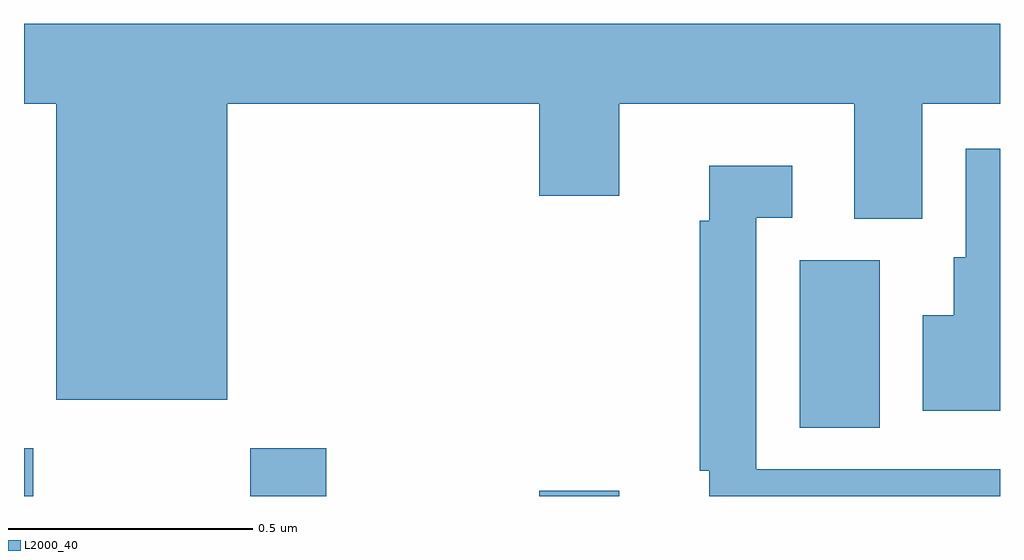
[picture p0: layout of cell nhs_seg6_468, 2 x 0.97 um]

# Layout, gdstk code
import gdstk
lib = gdstk.Library(unit=1e-6, precision=1e-09)
def R(c, l, rs):  # rectangles x0, y0, x1, y1
    for r in rs: c.add(gdstk.rectangle(r[:2], r[2:], *l))
def P(c, l, *ps):  # polygons
    for p in ps: c.add(gdstk.Polygon(p, *l))
L2000_40 = (2000, 40)

nhs_seg6_468 = lib.new_cell('nhs_seg6_468')
R(nhs_seg6_468, L2000_40, [(116,978.5,116.019,978.598), (116.464,978.5,116.619,978.598), (117.056,978.5,117.22,978.511), (117.59,978.64,117.754,978.984)])
P(nhs_seg6_468, L2000_40, [(116.416,979.304),(117.056,979.304),(117.056,979.116),(117.22,979.116),(117.22,979.304),(117.701,979.304),(117.701,979.069),(117.841,979.069),(117.841,979.304),(118,979.304),(118,979.468),(116,979.468),(116,979.304),(116.066,979.304),(116.066,978.698),(116.416,978.698)],
  [(118,979.212),(117.93,979.212),(117.93,978.99),(117.905,978.99),(117.905,978.871),(117.842,978.871),(117.842,978.675),(118,978.675)],
  [(118,978.555),(117.501,978.555),(117.501,979.071),(117.574,979.071),(117.574,979.177),(117.404,979.177),(117.404,979.064),(117.385,979.064),(117.385,978.552),(117.404,978.552),(117.404,978.5),(118,978.5)])

lib.write_gds('nhs_seg6_468.gds')
